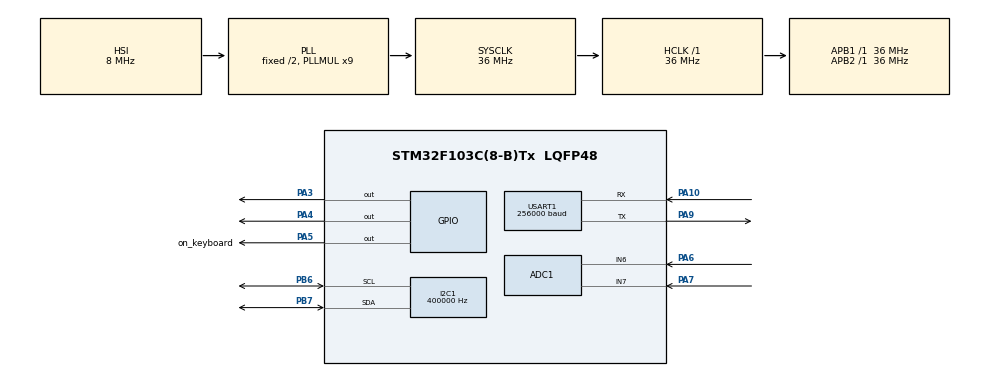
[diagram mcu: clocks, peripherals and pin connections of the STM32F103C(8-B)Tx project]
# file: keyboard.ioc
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ADC1.Channel-0\#ChannelRegularConversion=ADC_CHANNEL_6
ADC1.Channel-2\#ChannelRegularConversion=ADC_CHANNEL_7
ADC1.ContinuousConvMode=DISABLE
ADC1.DataAlign=ADC_DATAALIGN_RIGHT
ADC1.DiscontinuousConvMode=DISABLE
ADC1.EnableAnalogWatchDog=false
ADC1.EnableRegularConversion=ENABLE
ADC1.ExternalTrigConvEdgeChoice=NONE
ADC1.InjNumberOfConversion=0
ADC1.NbrOfConversion=2
ADC1.NbrOfConversionFlag=1
ADC1.Rank-0\#ChannelRegularConversion=1
ADC1.Rank-2\#ChannelRegularConversion=2
ADC1.SamplingTime-0\#ChannelRegularConversion=ADC_SAMPLETIME_1CYCLE_5
ADC1.SamplingTime-2\#ChannelRegularConversion=ADC_SAMPLETIME_1CYCLE_5
ADC1.ScanConvMode=ADC_SCAN_ENABLE
ADC1.master=1
Dma.ADC1.0.Direction=DMA_PERIPH_TO_MEMORY
Dma.ADC1.0.Instance=DMA1_Channel1
Dma.ADC1.0.MemDataAlignment=DMA_MDATAALIGN_HALFWORD
Dma.ADC1.0.MemInc=DMA_MINC_ENABLE
Dma.ADC1.0.Mode=DMA_NORMAL
Dma.ADC1.0.PeriphDataAlignment=DMA_PDATAALIGN_HALFWORD
Dma.ADC1.0.PeriphInc=DMA_PINC_DISABLE
Dma.ADC1.0.Priority=DMA_PRIORITY_LOW
Dma.Request0=ADC1
I2C1.ClockSpeed=400000
I2C1.I2C_Mode=I2C_Fast
Mcu.Family=STM32F1
Mcu.Name=STM32F103C(8-B)Tx
Mcu.Package=LQFP48
NVIC.DMA1_Channel1_IRQn=true\:0\:0\:false
NVIC.PriorityGroup=NVIC_PRIORITYGROUP_4
NVIC.USART1_IRQn=true\:0\:0\:false
PA10.Mode=Asynchronous
PA10.Signal=USART1_RX
PA3.PinState=GPIO_PIN_SET
PA3.Signal=GPIO_Output
PA4.Signal=GPIO_Output
PA5.GPIO_Label=on_keyboard
PA5.Signal=GPIO_Output
PA6.Signal=ADCx_IN6
PA7.Signal=ADCx_IN7
PA9.Mode=Asynchronous
PA9.Signal=USART1_TX
PB6.Mode=I2C
PB6.Signal=I2C1_SCL
PB7.Mode=I2C
PB7.Signal=I2C1_SDA
PD0-OSC_IN.Mode=HSE-External-Oscillator
PD0-OSC_IN.Signal=RCC_OSC_IN
PD1-OSC_OUT.Mode=HSE-External-Oscillator
PD1-OSC_OUT.Signal=RCC_OSC_OUT
ProjectManager.HeapSize=0x400
ProjectManager.StackSize=0x200
ProjectManager.TargetToolchain=MDK-ARM V5
RCC.ADCPresc=RCC_ADCPCLK2_DIV4
RCC.AHBFreq_Value=36000000
RCC.APB1Freq_Value=36000000
RCC.APB1TimCLKDivider=2
RCC.APB1TimFreq_Value=72000000
RCC.APB2Freq_Value=36000000
RCC.APB2TimFreq_Value=36000000
RCC.HCLKFreq_Value=36000000
RCC.PLLMUL=RCC_PLL_MUL9
RCC.SYSCLKFreq_VALUE=36000000
RCC.SYSCLKSource=RCC_SYSCLKSOURCE_PLLCLK
RCC.USBFreq_Value=36000000
SH.ADCx_IN6.0=ADC1_IN6,IN6
SH.ADCx_IN7.0=ADC1_IN7,IN7
USART1.BaudRate=256000
board=keyboard

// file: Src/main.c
/**
  ******************************************************************************
  * File Name          : main.c
  * Description        : Main program body
  ******************************************************************************
  *
  * COPYRIGHT(c) 2016 STMicroelectronics
  *
  * Redistribution and use in source and binary forms, with or without modification,
  * are permitted provided that the following conditions are met:
  *   1. Redistributions of source code must retain the above copyright notice,
  *      this list of conditions and the following disclaimer.
  *   2. Redistributions in binary form must reproduce the above copyright notice,
  *      this list of conditions and the following disclaimer in the documentation
  *      and/or other materials provided with the distribution.
  *   3. Neither the name of STMicroelectronics nor the names of its contributors
  *      may be used to endorse or promote products derived from this software
  *      without specific prior written permission.
  *
  * THIS SOFTWARE IS PROVIDED BY THE COPYRIGHT HOLDERS AND CONTRIBUTORS "AS IS"
  * AND ANY EXPRESS OR IMPLIED WARRANTIES, INCLUDING, BUT NOT LIMITED TO, THE
  * IMPLIED WARRANTIES OF MERCHANTABILITY AND FITNESS FOR A PARTICULAR PURPOSE ARE
  * DISCLAIMED. IN NO EVENT SHALL THE COPYRIGHT HOLDER OR CONTRIBUTORS BE LIABLE
  * FOR ANY DIRECT, INDIRECT, INCIDENTAL, SPECIAL, EXEMPLARY, OR CONSEQUENTIAL
  * DAMAGES (INCLUDING, BUT NOT LIMITED TO, PROCUREMENT OF SUBSTITUTE GOODS OR
  * SERVICES; LOSS OF USE, DATA, OR PROFITS; OR BUSINESS INTERRUPTION) HOWEVER
  * CAUSED AND ON ANY THEORY OF LIABILITY, WHETHER IN CONTRACT, STRICT LIABILITY,
  * OR TORT (INCLUDING NEGLIGENCE OR OTHERWISE) ARISING IN ANY WAY OUT OF THE USE
  * OF THIS SOFTWARE, EVEN IF ADVISED OF THE POSSIBILITY OF SUCH DAMAGE.
  *
  ******************************************************************************
  */
#include "stm32f1xx_hal.h"
#include "adc.h"
#include "dma.h"
#include "i2c.h"
#include "usart.h"
#include "gpio.h"

/* USER CODE BEGIN Includes */
#include <stdio.h>
#include "fonts.h"
#include "ssd1306.h"
#include "keyboard.h"
/* USER CODE END Includes */

/* USER CODE BEGIN PV */
/* Private variables ---------------------------------------------------------*/

/* USER CODE END PV */

void SystemClock_Config(void);

/* USER CODE BEGIN PFP */
/* Private function prototypes -----------------------------------------------*/

/* USER CODE END PFP */

/* USER CODE BEGIN 0 */
char buf[18] = {' '};
uint8_t cur_b = 0;

void handleKeyboard(int8_t key)
{
	if(cur_b < 18)
			{
				buf[cur_b] = keyboard_key_to_char(key);
				cur_b++;
			}
			else
			{
				memset(&buf[0], ' ', sizeof(buf));
				cur_b = 0;
				buf[cur_b] = keyboard_key_to_char(key);
				cur_b ++;
			}
}

/* USER CODE END 0 */

int main(void)
{

  /* MCU Configuration----------------------------------------------------------*/

  /* Reset of all peripherals, Initializes the Flash interface and the Systick. */
  HAL_Init();

  /* Configure the system clock */
  SystemClock_Config();

  /* Initialize all configured peripherals */
  MX_GPIO_Init();
  MX_DMA_Init();
  MX_ADC1_Init();
  MX_I2C1_Init();
  MX_USART1_UART_Init();

  /* USER CODE BEGIN 2 */
	//SSD1306_Init();
	printf("OLED init: %d\n", SSD1306_Init());
	SSD1306_DrawLine(5, 5, 30, 20, SSD1306_COLOR_WHITE);
	SSD1306_UpdateScreen();

	keyboard_setPressHandler(&handleKeyboard);
	keyboard_init();

  /* USER CODE END 2 */

  /* Infinite loop */
  while (1)
  {

  /* USER CODE BEGIN 3 */
		keyboard_update();

		SSD1306_GotoXY(0, 27);
		SSD1306_Puts(buf, &Font_7x10, SSD1306_COLOR_WHITE);

		SSD1306_UpdateScreen();
	  SSD1306_Fill(SSD1306_COLOR_BLACK);
  }
  /* USER CODE END 3 */

}

/** System Clock Configuration
*/
void SystemClock_Config(void)
{

  RCC_OscInitTypeDef RCC_OscInitStruct;
  RCC_ClkInitTypeDef RCC_ClkInitStruct;
  RCC_PeriphCLKInitTypeDef PeriphClkInit;

  RCC_OscInitStruct.OscillatorType = RCC_OSCILLATORTYPE_HSI;
  RCC_OscInitStruct.HSIState = RCC_HSI_ON;
  RCC_OscInitStruct.HSICalibrationValue = 16;
  RCC_OscInitStruct.PLL.PLLState = RCC_PLL_ON;
  RCC_OscInitStruct.PLL.PLLSource = RCC_PLLSOURCE_HSI_DIV2;
  RCC_OscInitStruct.PLL.PLLMUL = RCC_PLL_MUL9;
  HAL_RCC_OscConfig(&RCC_OscInitStruct);

  RCC_ClkInitStruct.ClockType = RCC_CLOCKTYPE_HCLK|RCC_CLOCKTYPE_SYSCLK
                              |RCC_CLOCKTYPE_PCLK1|RCC_CLOCKTYPE_PCLK2;
  RCC_ClkInitStruct.SYSCLKSource = RCC_SYSCLKSOURCE_PLLCLK;
  RCC_ClkInitStruct.AHBCLKDivider = RCC_SYSCLK_DIV1;
  RCC_ClkInitStruct.APB1CLKDivider = RCC_HCLK_DIV1;
  RCC_ClkInitStruct.APB2CLKDivider = RCC_HCLK_DIV1;
  HAL_RCC_ClockConfig(&RCC_ClkInitStruct, FLASH_LATENCY_1);

  PeriphClkInit.PeriphClockSelection = RCC_PERIPHCLK_ADC;
  PeriphClkInit.AdcClockSelection = RCC_ADCPCLK2_DIV4;
  HAL_RCCEx_PeriphCLKConfig(&PeriphClkInit);

  HAL_SYSTICK_Config(HAL_RCC_GetHCLKFreq()/1000);

  HAL_SYSTICK_CLKSourceConfig(SYSTICK_CLKSOURCE_HCLK);

  /* SysTick_IRQn interrupt configuration */
  HAL_NVIC_SetPriority(SysTick_IRQn, 0, 0);
}

/************************ (C) COPYRIGHT STMicroelectronics *****END OF FILE****/
